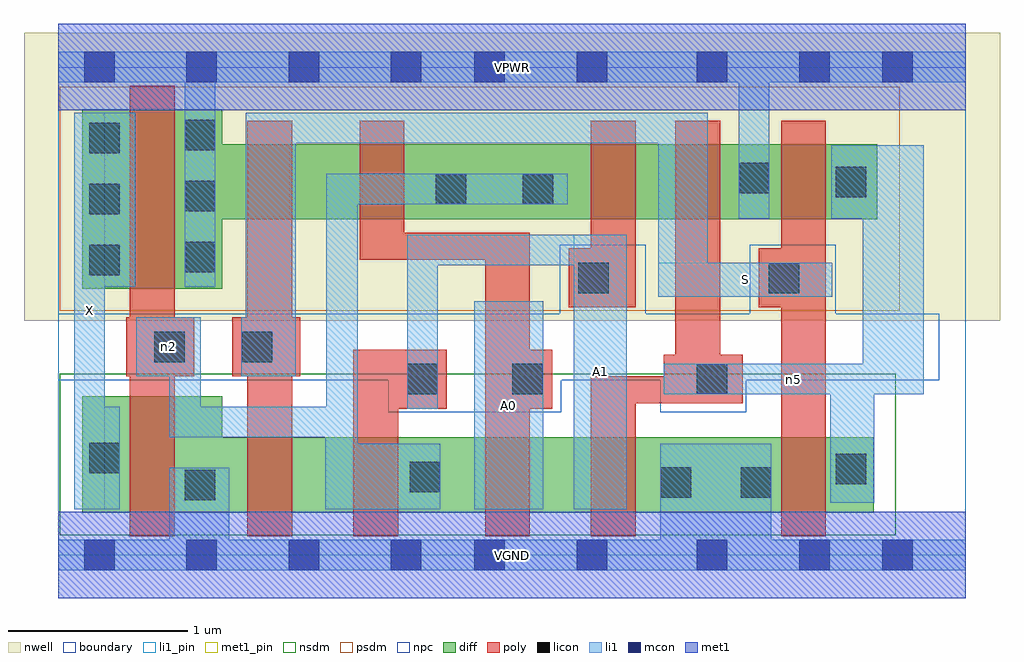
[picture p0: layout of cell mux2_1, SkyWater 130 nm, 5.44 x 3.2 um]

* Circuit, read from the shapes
.subckt mux2_1 A0 A1 S VGND VPWR X n2 n5
XM1 VGND n2 X VSUBS sky130_fd_pr__nfet_01v8 w=0.65 l=0.25
XM2 n1 S VGND VSUBS sky130_fd_pr__nfet_01v8 w=0.42 l=0.25
XM3 n2 A1 n1 VSUBS sky130_fd_pr__nfet_01v8 w=0.42 l=0.25
XM4 n3 A0 n2 VSUBS sky130_fd_pr__nfet_01v8 w=0.42 l=0.25
XM5 VGND n5 n3 VSUBS sky130_fd_pr__nfet_01v8 w=0.42 l=0.25
XM6 n5 S VGND VSUBS sky130_fd_pr__nfet_01v8 w=0.42 l=0.25
XM7 VPWR n2 X n4 sky130_fd_pr__pfet_01v8 w=1 l=0.25
XM8 n6 S VPWR n4 sky130_fd_pr__pfet_01v8 w=0.42 l=0.25
XM9 n2 A0 n6 n4 sky130_fd_pr__pfet_01v8 w=0.42 l=0.25
XM10 n7 A1 n2 n4 sky130_fd_pr__pfet_01v8 w=0.42 l=0.25
XM11 VPWR n5 n7 n4 sky130_fd_pr__pfet_01v8 w=0.42 l=0.25
XM12 n5 S VPWR n4 sky130_fd_pr__pfet_01v8 w=0.42 l=0.25
.ends

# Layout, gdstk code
import gdstk
lib = gdstk.Library(unit=1e-6, precision=1e-09)
def R(c, l, rs):  # rectangles x0, y0, x1, y1
    for r in rs: c.add(gdstk.rectangle(r[:2], r[2:], *l))
def A(c, l, x, y, w, h, nx, ny, dx, dy):  # array of equal rectangles
    R(c, l, [(x+i*dx, y+j*dy, x+i*dx+w, y+j*dy+h) for i in range(nx) for j in range(ny)])
nwell = (64, 20)
diff = (65, 20)
poly = (66, 20)
licon = (66, 44)
li1_pin = (67, 16)
li1 = (67, 20)
mcon = (67, 44)
met1_pin = (68, 16)
met1 = (68, 20)
nsdm = (93, 44)
psdm = (94, 20)
npc = (95, 20)
boundary = (235, 4)

mux2_1 = lib.new_cell('mux2_1')
R(mux2_1, nwell, [(-0.19,1.305,5.25,2.91), (0,1.305,5.06,2.91)])
R(mux2_1, diff, [(0.135,0.235,4.545,0.655), (0.135,0.235,0.915,0.885), (0.135,1.485,0.915,2.485), (0.135,1.87,4.565,2.29)])
R(mux2_1, poly, [(0.4,0.105,0.65,2.615), (1.055,0.105,1.305,2.42), (1.645,0.105,1.895,1.145), (2.38,0.105,2.63,1.795), (2.97,0.105,3.22,0.995), (4.03,0.105,4.28,2.42), (1.645,0.815,2.165,1.145), (2.38,0.815,2.755,1.145), (2.97,0.845,3.815,0.995), (3.375,0.845,3.815,1.115), (3.44,0.845,3.69,2.42), (0.38,0.995,0.76,1.325), (0.97,0.995,1.35,1.325), (2.845,1.38,3.22,1.71), (2.97,1.38,3.22,2.42), (3.905,1.38,4.28,1.71), (1.68,1.645,1.93,2.42), (1.68,1.645,2.63,1.795)])
A(mux2_1, licon, 0.175, 1.56, 0.17, 0.17, 1, 3, 0, 0.34)
A(mux2_1, licon, 0.705, 1.575, 0.17, 0.17, 1, 3, 0, 0.34)
R(mux2_1, licon, [(0.705,0.305,0.875,0.475), (3.36,0.32,3.53,0.49), (3.805,0.32,3.975,0.49), (1.96,0.35,2.13,0.52), (4.335,0.395,4.505,0.565), (0.175,0.455,0.345,0.625), (1.945,0.895,2.115,1.065), (2.53,0.895,2.7,1.065), (3.56,0.895,3.73,1.065), (0.535,1.075,0.705,1.245), (1.025,1.075,1.195,1.245), (2.9,1.46,3.07,1.63), (3.96,1.46,4.13,1.63), (2.105,1.955,2.275,2.125), (2.59,1.955,2.76,2.125), (4.335,1.995,4.505,2.165), (3.795,2.015,3.965,2.185)])
R(mux2_1, li1_pin, [(0.09,0.255,0.26,2.465), (2.32,0.255,2.705,1.415), (2.875,0.255,3.17,1.785), (3.345,1.44,4.315,1.63)])
R(mux2_1, li1, [(0,-0.085,5.06,0.085), (0.62,-0.085,0.955,0.485), (3.355,-0.085,3.975,0.62), (0.09,0.255,0.26,2.465), (0.09,0.255,0.345,0.825), (1.49,0.255,2.13,0.62), (1.49,0.255,1.67,0.825), (1.495,0.255,1.67,2.125), (2.32,0.255,2.705,1.415), (2.875,0.255,3.17,1.785), (4.305,0.29,4.55,1.065), (0.62,0.655,1.67,0.825), (0.62,0.655,0.795,1.325), (1.945,0.815,2.115,1.785), (3.375,0.895,4.825,1.065), (4.485,0.895,4.825,2.285), (0.435,0.995,0.795,1.325), (1.02,0.995,1.325,1.325), (1.045,0.995,1.325,2.465), (3.345,1.44,3.62,2.465), (3.345,1.44,4.315,1.63), (0.09,1.495,0.43,2.465), (0.705,1.495,0.875,2.805), (1.945,1.615,3.17,1.785), (3.795,1.875,3.965,2.805), (4.31,1.875,4.825,2.285), (1.495,1.955,2.84,2.125), (1.045,2.295,3.62,2.465), (0,2.635,5.06,2.805)])
A(mux2_1, mcon, 0.145, -0.085, 0.17, 0.17, 4, 2, 0.57, 2.72)
R(mux2_1, mcon, [(2.32,-0.085,2.49,0.085), (2.89,-0.085,3.06,0.085), (3.56,-0.085,3.73,0.085), (4.13,-0.085,4.3,0.085), (4.595,-0.085,4.765,0.085), (2.32,2.635,2.49,2.805), (2.89,2.635,3.06,2.805), (3.56,2.635,3.73,2.805), (4.13,2.635,4.3,2.805), (4.595,2.635,4.765,2.805)])
R(mux2_1, met1_pin, [(0,-0.24,5.06,0.24), (0,2.48,5.06,2.96)])
R(mux2_1, met1, [(0,-0.24,5.06,0.24), (0,2.48,5.06,2.96)])
R(mux2_1, nsdm, [(0.01,0.11,4.67,1.01)])
R(mux2_1, psdm, [(0.01,1.36,4.69,2.61)])
R(mux2_1, npc, [(1.84,0.795,2.805,1.345), (3.355,0.795,3.835,1.345), (0,0.975,4.91,1.345), (2.795,0.975,3.275,1.73), (3.855,0.975,4.335,1.73)])
R(mux2_1, boundary, [(0,0,5.06,2.72)])
mux2_1.add(gdstk.Label('A0', (2.512,0.835), layer=67, texttype=5))
mux2_1.add(gdstk.Label('A1', (3.022,1.02), layer=67, texttype=5))
mux2_1.add(gdstk.Label('S', (3.83,1.535), layer=67, texttype=5))
mux2_1.add(gdstk.Label('X', (0.175,1.36), layer=67, texttype=5))
mux2_1.add(gdstk.Label('n2', (0.615,1.16), layer=67, texttype=5))
mux2_1.add(gdstk.Label('n5', (4.1,0.98), layer=67, texttype=5))
mux2_1.add(gdstk.Label('VPWR', (2.53,2.72), layer=68, texttype=5))
mux2_1.add(gdstk.Label('VGND', (2.53,0), layer=68, texttype=5))
mux2_1.add(gdstk.Label('A0', (2.512,0.835), layer=67, texttype=16))
mux2_1.add(gdstk.Label('A1', (3.022,1.02), layer=67, texttype=16))
mux2_1.add(gdstk.Label('S', (3.83,1.535), layer=67, texttype=16))
mux2_1.add(gdstk.Label('X', (0.175,1.36), layer=67, texttype=16))
mux2_1.add(gdstk.Label('VPWR', (2.53,2.72), layer=68, texttype=16))
mux2_1.add(gdstk.Label('VGND', (2.53,0), layer=68, texttype=16))

lib.write_gds('mux2_1.gds')
